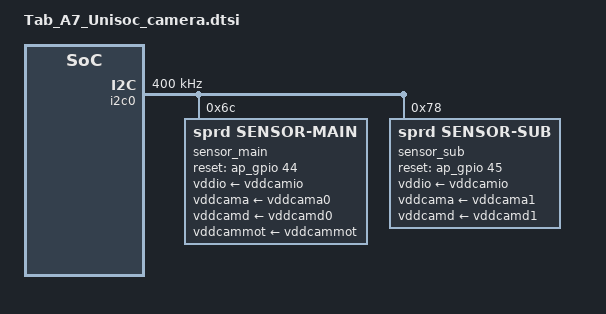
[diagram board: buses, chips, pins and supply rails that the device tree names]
&i2c0 {
	status = "okay";
	clock-frequency = <400000>;

	sensor_main: sensor-main@6c {
		compatible = "sprd,sensor-main";
		reg = <0x6c>;
		clock-names = "clk_src","sensor_eb",
			"clk_96m","clk_76m8",
			"clk_48m","clk_26m";
		clocks = <&mm_clk CLK_SENSOR0>,<&mm_gate CLK_MM_SENSOR0_EB>,
				<&pll2 CLK_TWPLL_96M>,<&pll2 CLK_TWPLL_76M8>,
				<&pll2 CLK_TWPLL_48M>,<&ext_26m>;
		vddio-supply = <&vddcamio>;
		vddcama-supply = <&vddcama0>;
		vddcamd-supply = <&vddcamd0>;
		vddcammot-supply = <&vddcammot>;
		reset-gpios = <&ap_gpio 44 0>;
		sprd,phyid = <0>;
		csi = <&csi0>;
	};

	sensor_sub: sensor-sub@78 {
		compatible = "sprd,sensor-sub";
		reg = <0x78>;
		clock-names = "clk_src","sensor_eb",
			"clk_96m","clk_76m8",
			"clk_48m","clk_26m";
		clocks = <&mm_clk CLK_SENSOR1>,<&mm_gate CLK_MM_SENSOR1_EB>,
				<&pll2 CLK_TWPLL_96M>,<&pll2 CLK_TWPLL_76M8>,
				<&pll2 CLK_TWPLL_48M>,<&ext_26m>;
		vddio-supply = <&vddcamio>;
		vddcama-supply = <&vddcama1>;
		vddcamd-supply = <&vddcamd1>;
		reset-gpios = <&ap_gpio 45 0>;
		sprd,phyid = <2>;
		csi = <&csi1>;
	};
};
